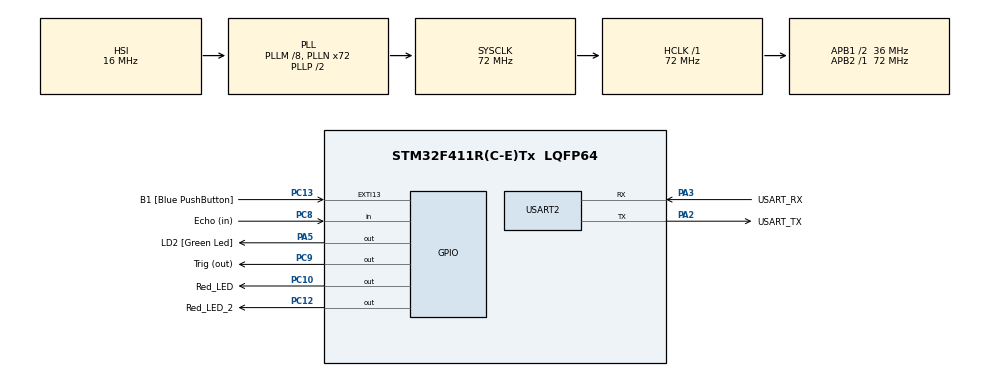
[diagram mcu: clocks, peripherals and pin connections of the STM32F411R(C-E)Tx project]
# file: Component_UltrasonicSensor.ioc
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Mcu.Family=STM32F4
Mcu.Name=STM32F411R(C-E)Tx
Mcu.Package=LQFP64
NVIC.PriorityGroup=NVIC_PRIORITYGROUP_0
PA13.GPIO_Label=TMS
PA13.Mode=Serial_Wire
PA13.Signal=SYS_JTMS-SWDIO
PA14.GPIO_Label=TCK
PA14.Mode=Serial_Wire
PA14.Signal=SYS_JTCK-SWCLK
PA2.GPIO_Label=USART_TX
PA2.Mode=Asynchronous
PA2.Signal=USART2_TX
PA3.GPIO_Label=USART_RX
PA3.Mode=Asynchronous
PA3.Signal=USART2_RX
PA5.GPIO_Label=LD2 [Green Led]
PA5.Signal=GPIO_Output
PB3.GPIO_Label=SWO
PB3.Signal=SYS_JTDO-SWO
PC10.GPIO_Label=Red_LED
PC10.Signal=GPIO_Output
PC12.GPIO_Label=Red_LED_2
PC12.Signal=GPIO_Output
PC13-ANTI_TAMP.GPIO_Label=B1 [Blue PushButton]
PC13-ANTI_TAMP.GPIO_ModeDefaultEXTI=GPIO_MODE_IT_FALLING
PC13-ANTI_TAMP.Signal=GPXTI13
PC14-OSC32_IN.Mode=LSE-External-Oscillator
PC14-OSC32_IN.Signal=RCC_OSC32_IN
PC15-OSC32_OUT.Mode=LSE-External-Oscillator
PC15-OSC32_OUT.Signal=RCC_OSC32_OUT
PC8.GPIO_Label=Echo (in)
PC8.Signal=GPIO_Input
PC9.GPIO_Label=Trig (out)
PC9.Signal=GPIO_Output
PH0\ -\ OSC_IN.Mode=HSE-External-Oscillator
PH0\ -\ OSC_IN.Signal=RCC_OSC_IN
PH1\ -\ OSC_OUT.Mode=HSE-External-Oscillator
PH1\ -\ OSC_OUT.Signal=RCC_OSC_OUT
ProjectManager.HeapSize=0x200
ProjectManager.StackSize=0x400
ProjectManager.TargetToolchain=STM32CubeIDE
RCC.48MHZClocksFreq_Value=36000000
RCC.AHBFreq_Value=72000000
RCC.APB1CLKDivider=RCC_HCLK_DIV2
RCC.APB1Freq_Value=36000000
RCC.APB1TimFreq_Value=72000000
RCC.APB2Freq_Value=72000000
RCC.APB2TimFreq_Value=72000000
RCC.CortexFreq_Value=72000000
RCC.FLatency-AdvancedSettings=FLASH_LATENCY_2
RCC.HCLKFreq_Value=72000000
RCC.HSE_VALUE=8000000
RCC.HSI_VALUE=16000000
RCC.PLLM=8
RCC.PLLN=72
RCC.SYSCLKFreq_VALUE=72000000
RCC.SYSCLKSource=RCC_SYSCLKSOURCE_PLLCLK
RCC.VCOOutputFreq_Value=144000000
TIM1.Prescaler=71
USART2.VirtualMode=VM_ASYNC
VP_TIM1_VS_ClockSourceINT.Mode=Internal
board=NUCLEO-F411RE

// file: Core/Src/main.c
/* USER CODE BEGIN Header */
/**
  ******************************************************************************
  * @file           : main.c
  * @brief          : Main program body
  ******************************************************************************
  * @attention
  *
  * Copyright (c) 2024 STMicroelectronics.
  * All rights reserved.
  *
  * This software is licensed under terms that can be found in the LICENSE file
  * in the root directory of this software component.
  * If no LICENSE file comes with this software, it is provided AS-IS.
  *
  ******************************************************************************
  */
/* USER CODE END Header */
#include "main.h"

TIM_HandleTypeDef htim1;

UART_HandleTypeDef huart2;

/* USER CODE BEGIN PV */
#define TRIG_PIN GPIO_PIN_9
#define TRIG_PORT GPIOA
#define ECHO_PIN GPIO_PIN_8
#define ECHO_PORT GPIOA
uint32_t pMillis;
uint32_t Value1 = 0;
uint32_t Value2 = 0;
uint16_t Distance  = 0;  // cm
uint16_t d = 0;
/* USER CODE END PV */

void SystemClock_Config(void);
static void MX_GPIO_Init(void);
static void MX_USART2_UART_Init(void);
static void MX_TIM1_Init(void);

/* USER CODE BEGIN 0 */
uint16_t GetUltrasonicMeasuredDistance(){
	HAL_GPIO_WritePin(TRIG_PORT, TRIG_PIN, GPIO_PIN_SET);  // pull the TRIG pin HIGH
	__HAL_TIM_SET_COUNTER(&htim1, 0);
	while (__HAL_TIM_GET_COUNTER (&htim1) < 10);  // wait for 10 us
	HAL_GPIO_WritePin(TRIG_PORT, TRIG_PIN, GPIO_PIN_RESET);  // pull the TRIG pin low

	pMillis = HAL_GetTick(); // used this to avoid infinite while loop  (for timeout)
	// wait for the echo pin to go high
	while (!(HAL_GPIO_ReadPin (ECHO_PORT, ECHO_PIN)) && pMillis + 10 >  HAL_GetTick());
	Value1 = __HAL_TIM_GET_COUNTER (&htim1);

	pMillis = HAL_GetTick(); // used this to avoid infinite while loop (for timeout)
	// wait for the echo pin to go low
	while ((HAL_GPIO_ReadPin (ECHO_PORT, ECHO_PIN)) && pMillis + 50 > HAL_GetTick());
	Value2 = __HAL_TIM_GET_COUNTER (&htim1);

	Distance = (Value2-Value1)* 0.034/2;

	return Distance;
}

void LEDTogglePerDistance(uint16_t v) {
	if (v < 10 && v != 0) {
		HAL_GPIO_WritePin(GPIOC, GPIO_PIN_10, GPIO_PIN_SET);
	}
	else {
		HAL_GPIO_WritePin(GPIOC, GPIO_PIN_10, GPIO_PIN_RESET);
	}
	if (v <= 5 && v != 0) {
		HAL_GPIO_WritePin(GPIOC, GPIO_PIN_12, GPIO_PIN_SET);
	}
	else {
		HAL_GPIO_WritePin(GPIOC, GPIO_PIN_12, GPIO_PIN_RESET);
	}
}

/* USER CODE END 0 */

int main(void)
{

  /* MCU Configuration--------------------------------------------------------*/

  /* Reset of all peripherals, Initializes the Flash interface and the Systick. */
  HAL_Init();

  /* Configure the system clock */
  SystemClock_Config();

  /* Initialize all configured peripherals */
  MX_GPIO_Init();
  MX_USART2_UART_Init();
  MX_TIM1_Init();
  /* USER CODE BEGIN 2 */
  HAL_TIM_Base_Start(&htim1);
  HAL_GPIO_WritePin(TRIG_PORT, TRIG_PIN, GPIO_PIN_RESET);  // pull the TRIG pin low
  /* USER CODE END 2 */

  /* Infinite loop */
  /* USER CODE BEGIN WHILE */
  char buf[256];
  while (1)
  {
	  d = GetUltrasonicMeasuredDistance();
	  LEDTogglePerDistance(d);
	  sprintf(buf, "Distance: %d cm\r\n", d);
	  HAL_UART_Transmit(&huart2, (uint8_t*)buf, strlen(buf), 1000);
	  HAL_Delay(50);
    /* USER CODE END WHILE */

  }
}

void SystemClock_Config(void)
{
  RCC_OscInitTypeDef RCC_OscInitStruct = {0};
  RCC_ClkInitTypeDef RCC_ClkInitStruct = {0};

  /** Configure the main internal regulator output voltage
  */
  __HAL_RCC_PWR_CLK_ENABLE();
  __HAL_PWR_VOLTAGESCALING_CONFIG(PWR_REGULATOR_VOLTAGE_SCALE1);

  /** Initializes the RCC Oscillators according to the specified parameters
  * in the RCC_OscInitTypeDef structure.
  */
  RCC_OscInitStruct.OscillatorType = RCC_OSCILLATORTYPE_HSI;
  RCC_OscInitStruct.HSIState = RCC_HSI_ON;
  RCC_OscInitStruct.HSICalibrationValue = RCC_HSICALIBRATION_DEFAULT;
  RCC_OscInitStruct.PLL.PLLState = RCC_PLL_ON;
  RCC_OscInitStruct.PLL.PLLSource = RCC_PLLSOURCE_HSI;
  RCC_OscInitStruct.PLL.PLLM = 8;
  RCC_OscInitStruct.PLL.PLLN = 72;
  RCC_OscInitStruct.PLL.PLLP = RCC_PLLP_DIV2;
  RCC_OscInitStruct.PLL.PLLQ = 4;
  if (HAL_RCC_OscConfig(&RCC_OscInitStruct) != HAL_OK)
  {
    Error_Handler();
  }

  /** Initializes the CPU, AHB and APB buses clocks
  */
  RCC_ClkInitStruct.ClockType = RCC_CLOCKTYPE_HCLK|RCC_CLOCKTYPE_SYSCLK
                              |RCC_CLOCKTYPE_PCLK1|RCC_CLOCKTYPE_PCLK2;
  RCC_ClkInitStruct.SYSCLKSource = RCC_SYSCLKSOURCE_PLLCLK;
  RCC_ClkInitStruct.AHBCLKDivider = RCC_SYSCLK_DIV1;
  RCC_ClkInitStruct.APB1CLKDivider = RCC_HCLK_DIV2;
  RCC_ClkInitStruct.APB2CLKDivider = RCC_HCLK_DIV1;

  if (HAL_RCC_ClockConfig(&RCC_ClkInitStruct, FLASH_LATENCY_2) != HAL_OK)
  {
    Error_Handler();
  }
}

static void MX_TIM1_Init(void)
{

  TIM_ClockConfigTypeDef sClockSourceConfig = {0};
  TIM_MasterConfigTypeDef sMasterConfig = {0};

  htim1.Instance = TIM1;
  htim1.Init.Prescaler = 71;
  htim1.Init.CounterMode = TIM_COUNTERMODE_UP;
  htim1.Init.Period = 65535;
  htim1.Init.ClockDivision = TIM_CLOCKDIVISION_DIV1;
  htim1.Init.RepetitionCounter = 0;
  htim1.Init.AutoReloadPreload = TIM_AUTORELOAD_PRELOAD_DISABLE;
  if (HAL_TIM_Base_Init(&htim1) != HAL_OK)
  {
    Error_Handler();
  }
  sClockSourceConfig.ClockSource = TIM_CLOCKSOURCE_INTERNAL;
  if (HAL_TIM_ConfigClockSource(&htim1, &sClockSourceConfig) != HAL_OK)
  {
    Error_Handler();
  }
  sMasterConfig.MasterOutputTrigger = TIM_TRGO_RESET;
  sMasterConfig.MasterSlaveMode = TIM_MASTERSLAVEMODE_DISABLE;
  if (HAL_TIMEx_MasterConfigSynchronization(&htim1, &sMasterConfig) != HAL_OK)
  {
    Error_Handler();
  }

}

static void MX_USART2_UART_Init(void)
{

  huart2.Instance = USART2;
  huart2.Init.BaudRate = 115200;
  huart2.Init.WordLength = UART_WORDLENGTH_8B;
  huart2.Init.StopBits = UART_STOPBITS_1;
  huart2.Init.Parity = UART_PARITY_NONE;
  huart2.Init.Mode = UART_MODE_TX_RX;
  huart2.Init.HwFlowCtl = UART_HWCONTROL_NONE;
  huart2.Init.OverSampling = UART_OVERSAMPLING_16;
  if (HAL_UART_Init(&huart2) != HAL_OK)
  {
    Error_Handler();
  }

}

static void MX_GPIO_Init(void)
{
  GPIO_InitTypeDef GPIO_InitStruct = {0};

  /* GPIO Ports Clock Enable */
  __HAL_RCC_GPIOC_CLK_ENABLE();
  __HAL_RCC_GPIOH_CLK_ENABLE();
  __HAL_RCC_GPIOA_CLK_ENABLE();
  __HAL_RCC_GPIOB_CLK_ENABLE();

  /*Configure GPIO pin Output Level */
  HAL_GPIO_WritePin(LD2_GPIO_Port, LD2_Pin, GPIO_PIN_RESET);

  /*Configure GPIO pin Output Level */
  HAL_GPIO_WritePin(GPIOC, Trig_Pin|Red_LED_Pin|Red_LED_2_Pin, GPIO_PIN_RESET);

  /*Configure GPIO pin : B1_Pin */
  GPIO_InitStruct.Pin = B1_Pin;
  GPIO_InitStruct.Mode = GPIO_MODE_IT_FALLING;
  GPIO_InitStruct.Pull = GPIO_NOPULL;
  HAL_GPIO_Init(B1_GPIO_Port, &GPIO_InitStruct);

  /*Configure GPIO pin : LD2_Pin */
  GPIO_InitStruct.Pin = LD2_Pin;
  GPIO_InitStruct.Mode = GPIO_MODE_OUTPUT_PP;
  GPIO_InitStruct.Pull = GPIO_NOPULL;
  GPIO_InitStruct.Speed = GPIO_SPEED_FREQ_LOW;
  HAL_GPIO_Init(LD2_GPIO_Port, &GPIO_InitStruct);

  /*Configure GPIO pin : Echo_Pin */
  GPIO_InitStruct.Pin = Echo_Pin;
  GPIO_InitStruct.Mode = GPIO_MODE_INPUT;
  GPIO_InitStruct.Pull = GPIO_NOPULL;
  HAL_GPIO_Init(Echo_GPIO_Port, &GPIO_InitStruct);

  /*Configure GPIO pins : Trig_Pin Red_LED_Pin Red_LED_2_Pin */
  GPIO_InitStruct.Pin = Trig_Pin|Red_LED_Pin|Red_LED_2_Pin;
  GPIO_InitStruct.Mode = GPIO_MODE_OUTPUT_PP;
  GPIO_InitStruct.Pull = GPIO_NOPULL;
  GPIO_InitStruct.Speed = GPIO_SPEED_FREQ_LOW;
  HAL_GPIO_Init(GPIOC, &GPIO_InitStruct);

}

void Error_Handler(void)
{
  __disable_irq();
  while (1)
  {
  }
}
